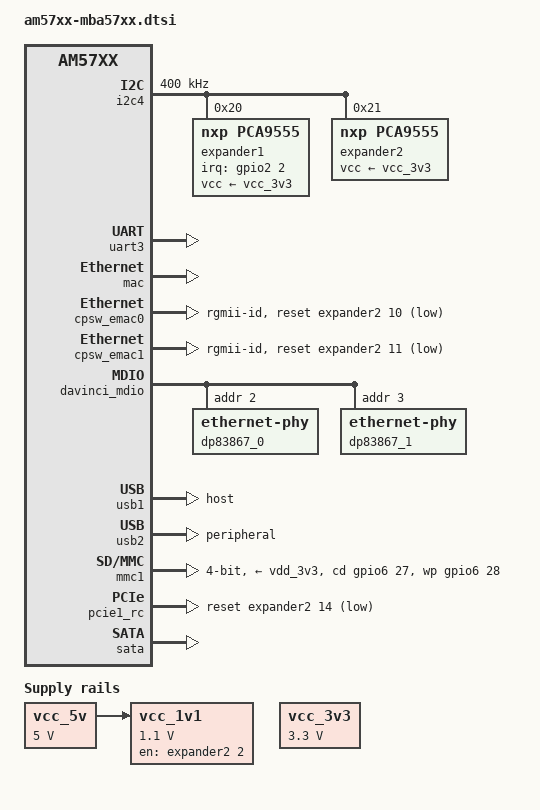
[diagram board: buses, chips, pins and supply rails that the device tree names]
/*
 * Copyright (C) 2020 TQ-Systems GmbH
 *
 * Author: Michael Krummsdorf <michael.krummsdorf@tq-group.com>
 *
 * This program is free software; you can redistribute it and/or modify
 * it under the terms of the GNU General Public License version 2 as
 * published by the Free Software Foundation.
 */

#include <dt-bindings/gpio/gpio.h>
#include <dt-bindings/interrupt-controller/irq.h>
#include <dt-bindings/net/ti-dp83867.h>
#include <dt-bindings/input/input.h>

/ {
	chosen {
		stdout-path = &uart3;
	};

	buttons: user_buttons {
		compatible = "gpio-keys";
	};

	vcc_5v: fixedregulator-vcc_5v {
		compatible = "regulator-fixed";
		regulator-name = "VCC5V";
		regulator-min-microvolt = <5000000>;
		regulator-max-microvolt = <5000000>;
		regulator-always-on;
		regulator-boot-on;
	};

	vcc_3v3: fixedregulator-vcc_3v3 {
		compatible = "regulator-fixed";
		regulator-name = "VCC3V3";
		regulator-min-microvolt = <3300000>;
		regulator-max-microvolt = <3300000>;
		regulator-always-on;
		regulator-boot-on;
	};

	/* USB hub */
	vcc_1v1: fixedregulator-vcc_1v1 {
		/* TPS62090RGT */
		compatible = "regulator-fixed";
		regulator-name = "VCC1V1";
		vin-supply = <&vcc_5v>;
		regulator-min-microvolt = <1100000>;
		regulator-max-microvolt = <1100000>;
		gpio = <&expander2 2 GPIO_ACTIVE_HIGH>;
		enable-active-high;
		regulator-boot-on;
	};
};

&dra7_pmx_core {
	gpio2_pins: pinmux_gpio2_pins {
		pinctrl-single,pins = <
			DRA7XX_CORE_IOPAD(0x3470, MUX_MODE14 | PIN_INPUT | WAKEUP_EN) /* gpmc_a12.gpio2_2 */
		>;
	};
};

&i2c4 {
	status = "okay";
	clock-frequency = <400000>;

	/* Input/Output GPIO Port Expander 16 bit */
	expander1: pca9555@20 {
		compatible = "nxp,pca9555";
		reg = <0x20>;
		interrupt-parent = <&gpio2>;
		interrupts = <2 IRQ_TYPE_EDGE_FALLING>;
		interrupt-controller;
		interrupt-cells = <2>;
		irq-gpio = <&gpio2 2 IRQ_TYPE_EDGE_FALLING>;
		gpio-controller;
		#gpio-cells = <2>;
		vcc-supply = <&vcc_3v3>;
		status = "okay";
		wakeup-source;
	};

	/* Output GPIO Port Expander 16 bit */
	expander2: pca9555@21 {
		compatible = "nxp,pca9555";
		reg = <0x21>;
		#gpio-cells = <2>;
		gpio-controller;
		vcc-supply = <&vcc_3v3>;
		status = "okay";
	};
};

/* Debug UART */
&uart3 {
	status = "okay";
	interrupts-extended = <&crossbar_mpu GIC_SPI 69 IRQ_TYPE_LEVEL_HIGH
			       &dra7_pmx_core 0x3c0>;
	wakeup-source;
};

&mac {
	status = "okay";
	dual_emac;
};

&cpsw_emac0 {
	phy_id = <&davinci_mdio>, <2>;
	phy-mode = "rgmii-id";
	dual_emac_res_vlan = <1>;
	reset-gpio = <&expander2 10 GPIO_ACTIVE_LOW>;
};

&cpsw_emac1 {
	phy_id = <&davinci_mdio>, <3>;
	phy-mode = "rgmii-id";
	dual_emac_res_vlan = <2>;
	reset-gpio = <&expander2 11 GPIO_ACTIVE_LOW>;
};

&davinci_mdio {
	dp83867_0: ethernet-phy@2 {
		reg = <2>;
		ti,rx-internal-delay = <DP83867_RGMIIDCTL_2_75_NS>;
		ti,tx-internal-delay = <DP83867_RGMIIDCTL_250_PS>;
		ti,fifo-depth = <DP83867_PHYCR_FIFO_DEPTH_8_B_NIB>;
		ti,min-output-impedance;
	};

	dp83867_1: ethernet-phy@3 {
		reg = <3>;
		ti,rx-internal-delay = <DP83867_RGMIIDCTL_2_75_NS>;
		ti,tx-internal-delay = <DP83867_RGMIIDCTL_250_PS>;
		ti,fifo-depth = <DP83867_PHYCR_FIFO_DEPTH_8_B_NIB>;
		ti,min-output-impedance;
	};
};

&usb1 {
	dr_mode = "host";
};

&usb2 {
	dr_mode = "peripheral";
};

/* sd card */
&mmc1 {
	status = "okay";
	vmmc-supply = <&vdd_3v3>;
	vmmc_aux-supply = <&ldo1_reg>;
	bus-width = <4>;
	cd-gpios = <&gpio6 27 0>; /* gpio 219 */
	wp-gpios = <&gpio6 28 0>; /* gpio 220 */
	pinctrl-names = "default", "hs";
	pinctrl-0 = <&mmc1_pins_default>;
	pinctrl-1 = <&mmc1_pins_hs>;
};

&omap_dwc3_2 {
	extcon = <&extcon_usb2>;
};

&extcon_usb2 {
	id-gpio = <&gpio1 3 GPIO_ACTIVE_HIGH>;
	vbus-gpio = <&gpio3 23 GPIO_ACTIVE_HIGH>;
	/* vbus-gpio: pad USB2_DRVVBUS, mode 0 */
};

/* PCIe lane 0 PCIe x4 connector */
&pcie1_rc {
	status = "okay";
	reset-gpio = <&expander2 14 GPIO_ACTIVE_LOW>;
};

&sata {
	status = "okay";
};

&gpio2 {
	pinctrl-names = "default";
	pinctrl-0 = <&gpio2_pins>;
};
